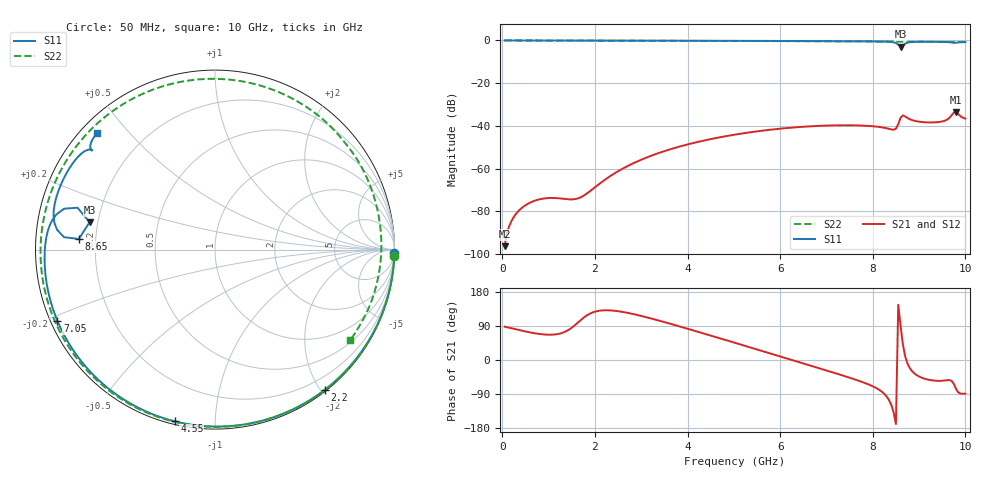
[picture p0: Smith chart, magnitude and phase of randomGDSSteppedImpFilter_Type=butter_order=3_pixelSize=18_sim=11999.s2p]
! freq	dB(S11)	phase(S11)	dB(S12)	phase(S12)
!  dB(S21)	phase(S21)	dB(S22)	phase(S22)
!S-par simulation data
#  GHz  S  DB  R 50
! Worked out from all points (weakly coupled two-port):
!   200 points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, 50 MHz to 10 GHz, reference 50 ohm
!   highest |S21| = -33.55 dB at 9.8 GHz (marker M1); lowest = -96.2 dB at 50 MHz (marker M2)
!   lowest |S11| = -2.9 dB at 8.6 GHz (marker M3), VSWR 6.02, Z = 8.4 + j5.25 ohm
!   |S11| at or under -10 dB: nowhere
!   |S22| runs from -0.8 to 0.0 dB; largest |S21 - S12| = 0
!   S11 on the Smith chart (normalised r, x): 50 MHz: 1, -93; 2.2 GHz: 0.02, -2.05; 4.55 GHz: 0.01, -0.79; 7.05 GHz: 0.02, -0.22; 8.65 GHz: 0.14, +0.04; 10 GHz: 0.05, +0.41
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0.05  -0.00 -1.2  -96.25 87.9  -96.25 87.9  -0.01 -2.0
0.35  -0.01 -8.5  -79.79 79.4  -79.79 79.4  -0.02 -13.8
0.85  -0.02 -20.5  -74.11 68.0  -74.11 68.0  -0.04 -33.1
1.5  -0.05 -35.8  -74.36 85.2  -74.36 85.2  -0.07 -57.6
1.75  -0.05 -41.7  -72.71 111.1  -72.71 111.1  -0.08 -66.7
2.2  -0.07 -52.0  -65.42 131.2  -65.42 131.2  -0.10 -82.8
3.4  -0.10 -78.7  -52.50 103.4  -52.50 103.4  -0.15 -123.4
4.55  -0.15 -103.3  -45.93 62.7  -45.93 62.7  -0.21 -160.8
5.05  -0.18 -113.7  -43.96 44.4  -43.96 44.4  -0.24 -177.2
5.9  -0.23 -131.3  -41.50 13.1  -41.50 13.1  -0.30 153.6
6.7  -0.29 -148.1  -40.11 -16.5  -40.11 -16.5  -0.36 123.7
7.05  -0.32 -155.7  -39.80 -29.5  -39.80 -29.5  -0.39 109.7
7.7  -0.39 -170.4  -39.78 -54.9  -39.78 -54.9  -0.45 81.7
8.35  -0.62 171.8  -41.35 -105.4  -41.35 -105.4  -0.51 51.4
8.5  -1.20 164.8  -41.28 -169.0  -41.28 -169.0  -0.54 44.1
8.6  -2.91 167.7  -36.20 91.1  -36.20 91.1  -0.56 39.2
8.65  -2.37 175.5  -35.09 41.5  -35.09 41.5  -0.56 36.8
8.8  -0.84 170.4  -36.85 -21.5  -36.85 -21.5  -0.57 29.3
9.35  -0.63 152.2  -38.31 -54.6  -38.31 -54.6  -0.66 1.0
9.6  -0.75 144.5  -37.10 -53.4  -37.10 -53.4  -0.71 -12.2
9.8  -1.08 141.3  -33.55 -76.7  -33.55 -76.7  -0.78 -23.0
10  -0.69 135.2  -36.56 -88.7  -36.56 -88.7  -0.85 -33.7
